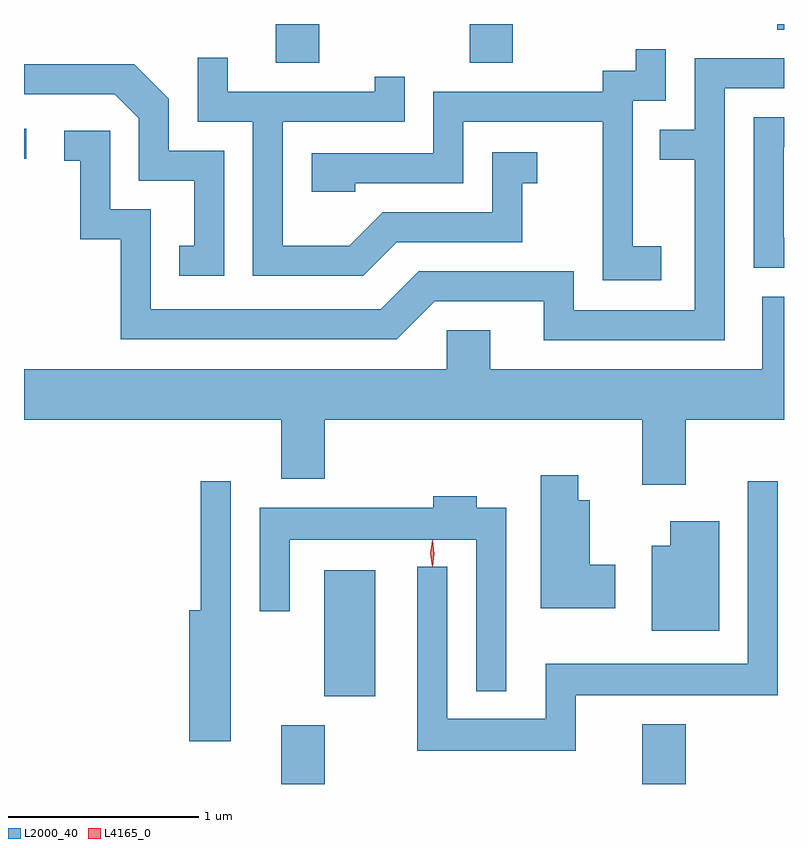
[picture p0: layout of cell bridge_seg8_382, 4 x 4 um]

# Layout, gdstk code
import gdstk
lib = gdstk.Library(unit=1e-6, precision=1e-09)
def R(c, l, rs):  # rectangles x0, y0, x1, y1
    for r in rs: c.add(gdstk.rectangle(r[:2], r[2:], *l))
def P(c, l, *ps):  # polygons
    for p in ps: c.add(gdstk.Polygon(p, *l))
L2000_40 = (2000, 40)
L4165_0 = (4165, 0)

bridge_seg8_382 = lib.new_cell('bridge_seg8_382')
R(bridge_seg8_382, L2000_40, [(687.161,1878.9,687.389,1879.209), (689.061,1878.9,689.289,1879.214), (687.386,1879.361,687.654,1880.024), (685.806,1882.191,685.818,1882.349), (687.131,1882.696,687.359,1882.9), (688.151,1882.696,688.379,1882.9), (689.771,1882.871,689.806,1882.9)])
P(bridge_seg8_382, L2000_40, [(689.159,1881.729),(689.009,1881.729),(689.009,1882.496),(689.184,1882.496),(689.184,1882.768),(689.026,1882.768),(689.026,1882.654),(688.851,1882.654),(688.851,1882.544),(687.961,1882.544),(687.961,1882.219),(687.321,1882.219),(687.321,1882.016),(687.549,1882.016),(687.549,1882.061),(688.119,1882.061),(688.119,1882.386),(688.851,1882.386),(688.851,1881.551),(689.159,1881.551)],
  [(687.767,1881.751),(688.429,1881.751),(688.429,1882.061),(688.508,1882.061),(688.508,1882.224),(688.271,1882.224),(688.271,1881.909),(687.694,1881.909),(687.519,1881.734),(687.169,1881.734),(687.169,1882.386),(687.809,1882.386),(687.809,1882.623),(687.651,1882.623),(687.651,1882.544),(686.879,1882.544),(686.879,1882.723),(686.721,1882.723),(686.721,1882.386),(687.011,1882.386),(687.011,1881.576),(687.592,1881.576)],
  [(689.494,1882.561),(689.806,1882.561),(689.806,1882.719),(689.336,1882.719),(689.336,1882.344),(689.153,1882.344),(689.153,1882.186),(689.336,1882.186),(689.336,1881.394),(688.699,1881.394),(688.699,1881.599),(687.884,1881.599),(687.684,1881.399),(686.474,1881.399),(686.474,1881.924),(686.259,1881.924),(686.259,1882.339),(686.018,1882.339),(686.018,1882.181),(686.101,1882.181),(686.101,1881.766),(686.316,1881.766),(686.316,1881.241),(687.767,1881.241),(687.967,1881.441),(688.541,1881.441),(688.541,1881.236),(689.494,1881.236)],
  [(686.859,1882.234),(686.569,1882.234),(686.569,1882.507),(686.387,1882.689),(685.806,1882.689),(685.806,1882.531),(686.284,1882.531),(686.411,1882.404),(686.411,1882.076),(686.701,1882.076),(686.701,1881.734),(686.623,1881.734),(686.623,1881.576),(686.859,1881.576)],
  [(689.806,1881.774),(689.804,1881.774),(689.804,1882.251),(689.806,1882.251),(689.806,1882.409),(689.646,1882.409),(689.646,1881.616),(689.806,1881.616)],
  [(689.289,1880.816),(689.806,1880.816),(689.806,1881.464),(689.691,1881.464),(689.691,1881.084),(688.259,1881.084),(688.259,1881.289),(688.031,1881.289),(688.031,1881.084),(685.806,1881.084),(685.806,1880.816),(687.161,1880.816),(687.161,1880.506),(687.389,1880.506),(687.389,1880.816),(689.061,1880.816),(689.061,1880.476),(689.289,1880.476)],
  [(688.919,1880.054),(688.784,1880.054),(688.784,1880.394),(688.724,1880.394),(688.724,1880.524),(688.526,1880.524),(688.526,1879.826),(688.919,1879.826)],
  [(688.709,1879.366),(689.774,1879.366),(689.774,1880.493),(689.616,1880.493),(689.616,1879.534),(688.551,1879.534),(688.551,1879.244),(688.034,1879.244),(688.034,1880.043),(687.876,1880.043),(687.876,1879.076),(688.709,1879.076)],
  [(686.894,1880.493),(686.736,1880.493),(686.736,1879.814),(686.676,1879.814),(686.676,1879.126),(686.894,1879.126)],
  [(688.344,1880.354),(688.189,1880.354),(688.189,1880.414),(687.961,1880.414),(687.961,1880.354),(687.046,1880.354),(687.046,1879.808),(687.204,1879.808),(687.204,1880.186),(688.186,1880.186),(688.186,1879.388),(688.344,1879.388)],
  [(689.464,1880.284),(689.206,1880.284),(689.206,1880.154),(689.111,1880.154),(689.111,1879.706),(689.464,1879.706)])
P(bridge_seg8_382, L4165_0, [(687.954,1880.047),(687.954,1880.048),(687.944,1880.114),(687.954,1880.18),(687.954,1880.18),(687.955,1880.18),(687.964,1880.114),(687.955,1880.048)],
  [(687.954,1880.044),(687.945,1880.113),(687.954,1880.182),(687.955,1880.183),(687.956,1880.182),(687.965,1880.113),(687.956,1880.044),(687.955,1880.044)])

lib.write_gds('bridge_seg8_382.gds')
